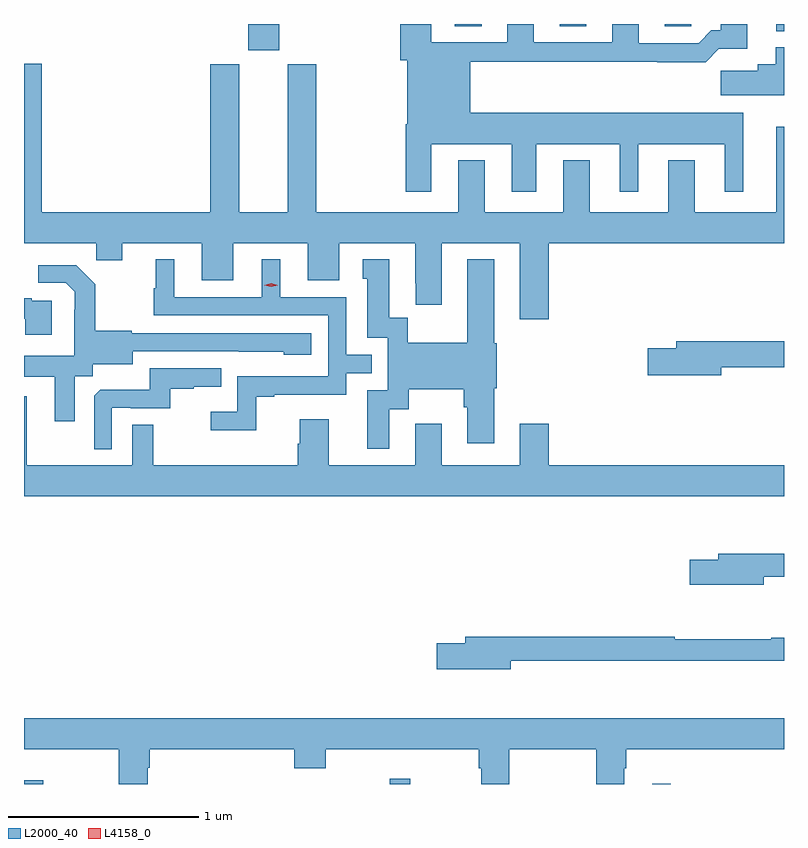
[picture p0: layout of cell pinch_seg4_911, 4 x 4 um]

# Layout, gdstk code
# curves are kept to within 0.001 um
import gdstk
lib = gdstk.Library(unit=1e-6, precision=1e-09)
def R(c, l, rs):  # rectangles x0, y0, x1, y1
    for r in rs: c.add(gdstk.rectangle(r[:2], r[2:], *l))
def P(c, l, *ps):  # polygons
    for p in ps: c.add(gdstk.Polygon(p, *l))
L2000_40 = (2000, 40)
L4158_0 = (4158, 0)

pinch_seg4_911 = lib.new_cell('pinch_seg4_911')
R(pinch_seg4_911, L2000_40, [(646.013,828.606,646.114,828.625), (647.937,828.606,648.046,828.634), (649.319,828.606,649.416,828.607), (647.192,832.467,647.356,832.606), (649.973,832.568,650.013,832.606), (648.281,832.594,648.421,832.606), (648.833,832.594,648.973,832.606), (649.385,832.594,649.524,832.606)])
P(pinch_seg4_911, L2000_40, [(648.157,831.974),(648.581,831.974),(648.581,831.723),(648.709,831.723),(648.709,831.974),(649.148,831.974),(649.148,831.723),(649.246,831.723),(649.246,831.974),(649.7,831.974),(649.7,831.723),(649.798,831.723),(649.798,832.138),(648.361,832.138),(648.361,832.408),(649.345,832.408),(649.345,832.406),(649.601,832.406),(649.67,832.475),(649.819,832.475),(649.819,832.606),(649.679,832.606),(649.679,832.573),(649.63,832.573),(649.563,832.506),(649.249,832.506),(649.249,832.606),(649.109,832.606),(649.109,832.509),(648.697,832.509),(648.697,832.606),(648.557,832.606),(648.557,832.509),(648.157,832.509),(648.157,832.606),(647.993,832.606),(647.993,832.416),(648.029,832.416),(648.029,832.078),(648.022,832.078),(648.022,831.723),(648.157,831.723)],
  [(650.013,832.483),(649.97,832.483),(649.97,832.393),(649.874,832.393),(649.874,832.361),(649.68,832.361),(649.68,832.232),(650.013,832.232)],
  [(648.776,831.452),(650.013,831.452),(650.013,832.066),(649.973,832.066),(649.973,831.616),(649.543,831.616),(649.543,831.889),(649.403,831.889),(649.403,831.616),(648.991,831.616),(648.991,831.889),(648.851,831.889),(648.851,831.616),(648.439,831.616),(648.439,831.889),(648.299,831.889),(648.299,831.616),(647.55,831.616),(647.55,832.395),(647.402,832.395),(647.402,831.616),(647.146,831.616),(647.146,832.395),(646.994,832.395),(646.994,831.616),(646.106,831.616),(646.106,832.396),(646.013,832.396),(646.013,831.452),(646.393,831.452),(646.393,831.362),(646.531,831.362),(646.531,831.452),(646.949,831.452),(646.949,831.258),(647.113,831.258),(647.113,831.452),(647.507,831.452),(647.507,831.258),(647.671,831.258),(647.671,831.452),(648.071,831.452),(648.071,831.241),(648.074,831.241),(648.074,831.129),(648.211,831.129),(648.211,831.452),(648.623,831.452),(648.623,831.051),(648.776,831.051)],
  [(647.935,830.578),(648.037,830.578),(648.037,830.684),(648.328,830.684),(648.328,830.589),(648.347,830.589),(648.347,830.4),(648.487,830.4),(648.487,830.688),(648.5,830.688),(648.5,830.925),(648.487,830.925),(648.487,831.367),(648.347,831.367),(648.347,830.929),(648.033,830.929),(648.033,831.059),(647.935,831.059),(647.935,831.367),(647.795,831.367),(647.795,831.264),(647.819,831.264),(647.819,830.955),(647.928,830.955),(647.928,830.679),(647.819,830.679),(647.819,830.37),(647.935,830.37)],
  [(647.235,830.643),(647.329,830.643),(647.329,830.655),(647.709,830.655),(647.709,830.769),(647.843,830.769),(647.843,830.865),(647.709,830.865),(647.709,831.168),(647.362,831.168),(647.362,831.367),(647.264,831.367),(647.264,831.168),(646.804,831.168),(646.804,831.367),(646.706,831.367),(646.706,831.216),(646.695,831.216),(646.695,831.072),(647.613,831.072),(647.613,830.751),(647.136,830.751),(647.136,830.566),(646.995,830.566),(646.995,830.468),(647.235,830.468)],
  [(646.279,830.752),(646.374,830.752),(646.374,830.816),(646.585,830.816),(646.585,830.883),(647.379,830.882),(647.379,830.864),(647.524,830.864),(647.524,830.979),(646.581,830.979),(646.581,830.992),(646.389,830.992),(646.389,831.237),(646.289,831.337),(646.089,831.337),(646.089,831.243),(646.233,831.243),(646.28,831.196),(646.28,831.101),(646.278,831.101),(646.278,830.86),(646.013,830.86),(646.013,830.75),(646.175,830.75),(646.175,830.514),(646.279,830.514)],
  [(646.159,831.15),(646.055,831.15),(646.055,831.163),(646.013,831.163),(646.013,831.054),(646.019,831.054),(646.019,830.97),(646.159,830.97)],
  [(649.684,830.8),(650.013,830.8),(650.013,830.936),(649.445,830.936),(649.445,830.9),(649.296,830.9),(649.296,830.758),(649.684,830.758)],
  [(646.476,830.586),(646.576,830.586),(646.576,830.583),(646.784,830.583),(646.784,830.685),(646.907,830.685),(646.907,830.696),(647.051,830.696),(647.051,830.793),(646.674,830.793),(646.674,830.681),(646.415,830.681),(646.383,830.649),(646.383,830.369),(646.476,830.369)],
  [(650.013,830.284),(648.776,830.284),(648.776,830.503),(648.623,830.503),(648.623,830.284),(648.211,830.284),(648.211,830.503),(648.071,830.503),(648.071,830.284),(647.617,830.284),(647.617,830.527),(647.465,830.527),(647.465,830.397),(647.453,830.397),(647.453,830.284),(646.693,830.284),(646.693,830.498),(646.584,830.498),(646.584,830.284),(646.027,830.284),(646.027,830.647),(646.013,830.647),(646.013,830.12),(650.013,830.12)],
  [(649.906,829.698),(650.013,829.698),(650.013,829.819),(649.667,829.819),(649.667,829.785),(649.518,829.785),(649.518,829.655),(649.906,829.655)],
  [(648.574,829.254),(650.013,829.254),(650.013,829.375),(649.945,829.375),(649.945,829.367),(649.439,829.367),(649.439,829.382),(648.335,829.382),(648.335,829.346),(648.186,829.346),(648.186,829.211),(648.574,829.211)],
  [(646.663,828.692),(646.676,828.692),(646.676,828.788),(647.435,828.788),(647.435,828.689),(647.6,828.689),(647.6,828.788),(648.407,828.788),(648.407,828.69),(648.419,828.69),(648.419,828.606),(648.567,828.606),(648.567,828.788),(649.024,828.788),(649.024,828.606),(649.171,828.606),(649.171,828.69),(649.184,828.69),(649.184,828.788),(650.013,828.788),(650.013,828.952),(646.013,828.952),(646.013,828.788),(646.511,828.788),(646.511,828.606),(646.663,828.606)])
P(pinch_seg4_911, L4158_0, [(647.313,831.222),(647.277,831.232),(647.277,831.232),(647.277,831.232),(647.313,831.242),(647.349,831.232),(647.349,831.232),(647.349,831.232)])

lib.write_gds('pinch_seg4_911.gds')
